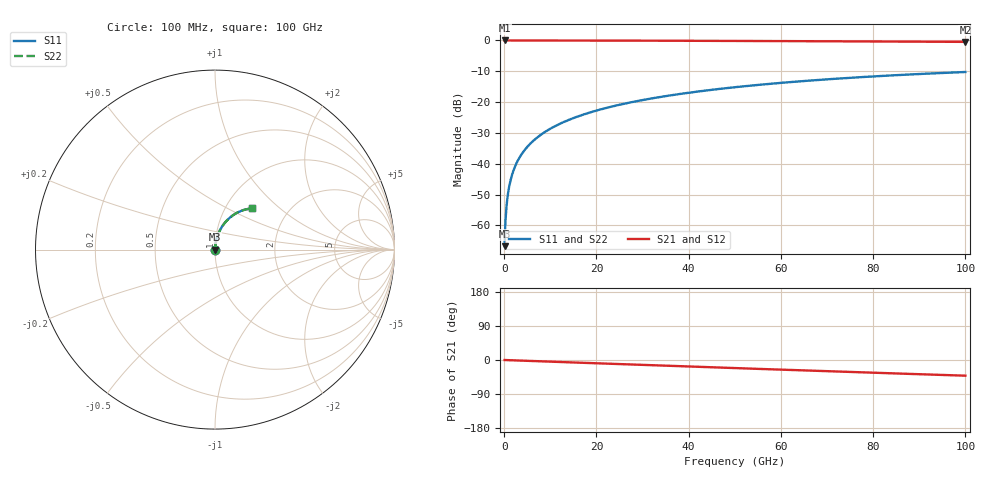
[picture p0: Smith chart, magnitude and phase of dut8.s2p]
! Touchstone file exported from HFSS 2026.1.0
!  File:  C:/ffzhzh/LocalFiles/Ansys_Project_Files/temp_train_TSV_8_1783504201_55944.aedt
!  Generated:  05:51:34 PM Jul  8, 2026
!  Design:  TSV
!  Project:  temp_train_TSV_8_1783504201_55944
! Variables:
!  h_bsmrdl = 2um
!  h_ox = 20um
!  h_rdl = 5um
!  h_sub = 69.44um
!  h_tmrdl = 5um
!  h_tsv = 69.44um
!  h_via = 3um
!  l_bsmrdl = 300um
!  l_sub = 413.04um
!  l_tmrdl = 200um
!  m_sub = 200um
!  pitch = 55um
!  r_tsv = 6.52um
!  s_tmrdl = 10um
!  w_bsmrdl = 18um
!  w_sub = 500um
!  w_tmrdl = 12um
!  x_tsv_center1 = 206um
!  x_tsv_center2 = 524um
!  x_tsv_center3 = 736um
!  x_tsv_center4 = 1054um
!  x_tsv_center5 = 1266um
!  x_tsv_center6 = 1584um
# GHz S MA R 50.000000
! Terminal data exported
! Port[1] = TSV1_1_T1
! Port[2] = TSV1_1_T2
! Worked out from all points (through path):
!   1000 points, 100 MHz to 100 GHz, reference 50 ohm
!   highest |S21| = 0.00 dB at 100 MHz (marker M1); lowest = -0.5 dB at 100 GHz (marker M2)
!   group delay of S21, straight-line fit = 1.15 ps
!   lowest |S11| = -66.7 dB at 100 MHz (marker M3), VSWR 1.00, Z = 50 + j0.0404 ohm
!   |S11| at or under -10 dB: start of sweep to end of sweep
!   |S22| runs from -66.7 to -10.2 dB; largest |S21 - S12| = 3.6e-15
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0.1  0.0004604 61.3  0.9998 -0.0  0.9998 -0.0  0.0004604 61.3
! Gamma 0 0 0 0
! Port Impedance 50 0 50 0
0.3  0.001217 78.2  0.9998 -0.1  0.9998 -0.1  0.001217 78.2
0.7  0.00275 83.7  0.9997 -0.3  0.9997 -0.3  0.00275 83.7
0.8  0.003134 84.2  0.9997 -0.4  0.9997 -0.4  0.003134 84.2
1  0.003899 84.8  0.9997 -0.4  0.9997 -0.4  0.003899 84.8
1.3  0.005043 85.4  0.9996 -0.6  0.9996 -0.6  0.005043 85.4
1.7  0.006557 85.7  0.9996 -0.8  0.9996 -0.8  0.006557 85.7
2.3  0.008806 85.8  0.9995 -1.0  0.9995 -1.0  0.008806 85.8
3  0.0114 85.8  0.9994 -1.3  0.9994 -1.3  0.0114 85.8
3.8  0.01435 85.7  0.9992 -1.7  0.9992 -1.7  0.01435 85.7
4.8  0.01802 85.5  0.9991 -2.1  0.9991 -2.1  0.01802 85.5
6  0.0224 85.3  0.9989 -2.6  0.9989 -2.6  0.0224 85.3
8.8  0.03261 84.4  0.9985 -3.8  0.9985 -3.8  0.03261 84.4
12.4  0.04565 83.1  0.9978 -5.4  0.9978 -5.4  0.04565 83.1
16.8  0.06146 81.4  0.9967 -7.3  0.9967 -7.3  0.06146 81.4
24.2  0.0877 78.5  0.9945 -10.4  0.9945 -10.4  0.0877 78.5
33.4  0.1196 74.7  0.9909 -14.4  0.9909 -14.4  0.1196 74.7
41.2  0.1458 71.5  0.9872 -17.6  0.9872 -17.6  0.1458 71.5
50.1  0.1746 67.9  0.9823 -21.4  0.9823 -21.4  0.1746 67.9
66.7  0.2247 61.2  0.9718 -28.2  0.9718 -28.2  0.2247 61.2
83.4  0.2695 54.5  0.9601 -34.9  0.9601 -34.9  0.2695 54.5
100  0.3078 48.1  0.9483 -41.4  0.9483 -41.4  0.3078 48.1
